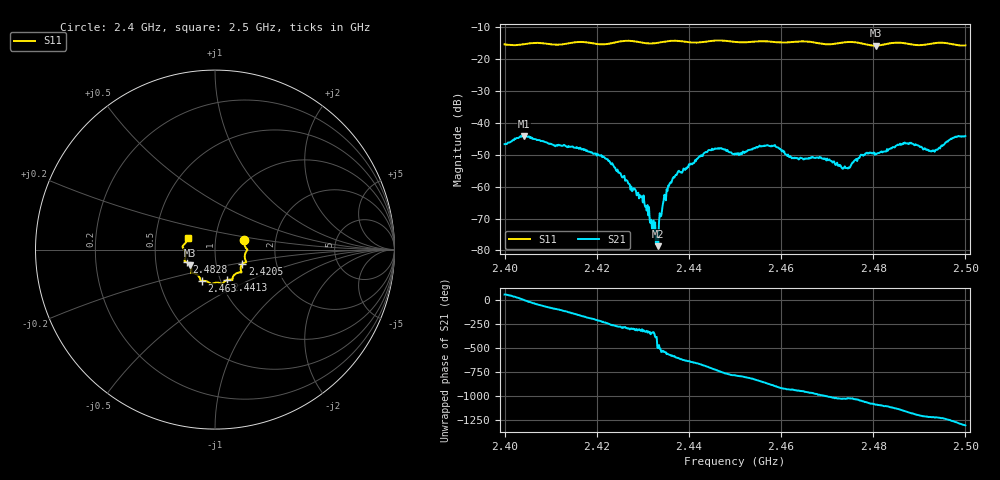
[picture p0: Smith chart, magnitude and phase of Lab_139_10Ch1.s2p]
# Hz S RI R 50
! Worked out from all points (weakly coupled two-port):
!   601 points, 2.4 GHz to 2.5 GHz, reference 50 ohm
!   highest |S21| = -44.03 dB at 2.4042 GHz (marker M1); lowest = -78.6 dB at 2.4333 GHz (marker M2)
!   lowest |S11| = -15.7 dB at 2.4805 GHz (marker M3), VSWR 1.39, Z = 37.3 - j6.7 ohm
!   |S11| at or under -10 dB: start of sweep to end of sweep
!   S12 and S22 are empty: the file has one direction only
!   S11 on the Smith chart (normalised r, x): 2.4 GHz: 1.38, +0.15; 2.4205 GHz: 1.34, -0.22; 2.4413 GHz: 1.08, -0.38; 2.463 GHz: 0.82, -0.29; 2.4828 GHz: 0.72, -0.10; 2.5 GHz: 0.73, +0.10
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2.4e9  0.1631 0.0524  0.0026 0.00387  0 0  0 0
2.404167e9  0.1722 0.00874  0.00629 0.000132  0 0  0 0
2.416667e9  0.1734 -0.0696  -0.00371 -0.001  0 0  0 0
2.4205e9  0.1521 -0.0808  -0.00254 0.0018  0 0  0 0
2.429833e9  0.1299 -0.128  0.00039 0.000583  0 0  0 0
2.432833e9  0.1028 -0.1471  0.00011 -6.07e-05  0 0  0 0
2.433333e9  0.1003 -0.1513  -8.89e-05 -7.59e-05  0 0  0 0
2.434167e9  0.0982 -0.1582  -0.000426 -2.51e-05  0 0  0 0
2.436e9  0.0979 -0.1679  -0.000997 0.000612  0 0  0 0
2.441333e9  0.0675 -0.1697  0.000951 0.00243  0 0  0 0
2.4455e9  0.0425 -0.1913  0.00389 -1.13e-05  0 0  0 0
2.45e9  0.0248 -0.1855  0.00154 -0.00295  0 0  0 0
2.458167e9  -0.0317 -0.185  -0.00415 -0.00124  0 0  0 0
2.463e9  -0.0721 -0.1736  -0.0023 0.00171  0 0  0 0
2.466667e9  -0.0816 -0.1673  -0.00121 0.00259  0 0  0 0
2.4745e9  -0.133 -0.1307  0.000927 0.0017  0 0  0 0
2.4805e9  -0.1385 -0.0873  0.00331 -0.000378  0 0  0 0
2.482833e9  -0.1587 -0.07  0.00329 -0.00142  0 0  0 0
2.483333e9  -0.1626 -0.0683  0.00343 -0.00174  0 0  0 0
2.487833e9  -0.1663 -0.0489  4.97e-05 -0.00489  0 0  0 0
2.492833e9  -0.1768 0.00841  -0.00271 -0.00252  0 0  0 0
2.5e9  -0.1521 0.0639  -0.00458 0.00426  0 0  0 0
